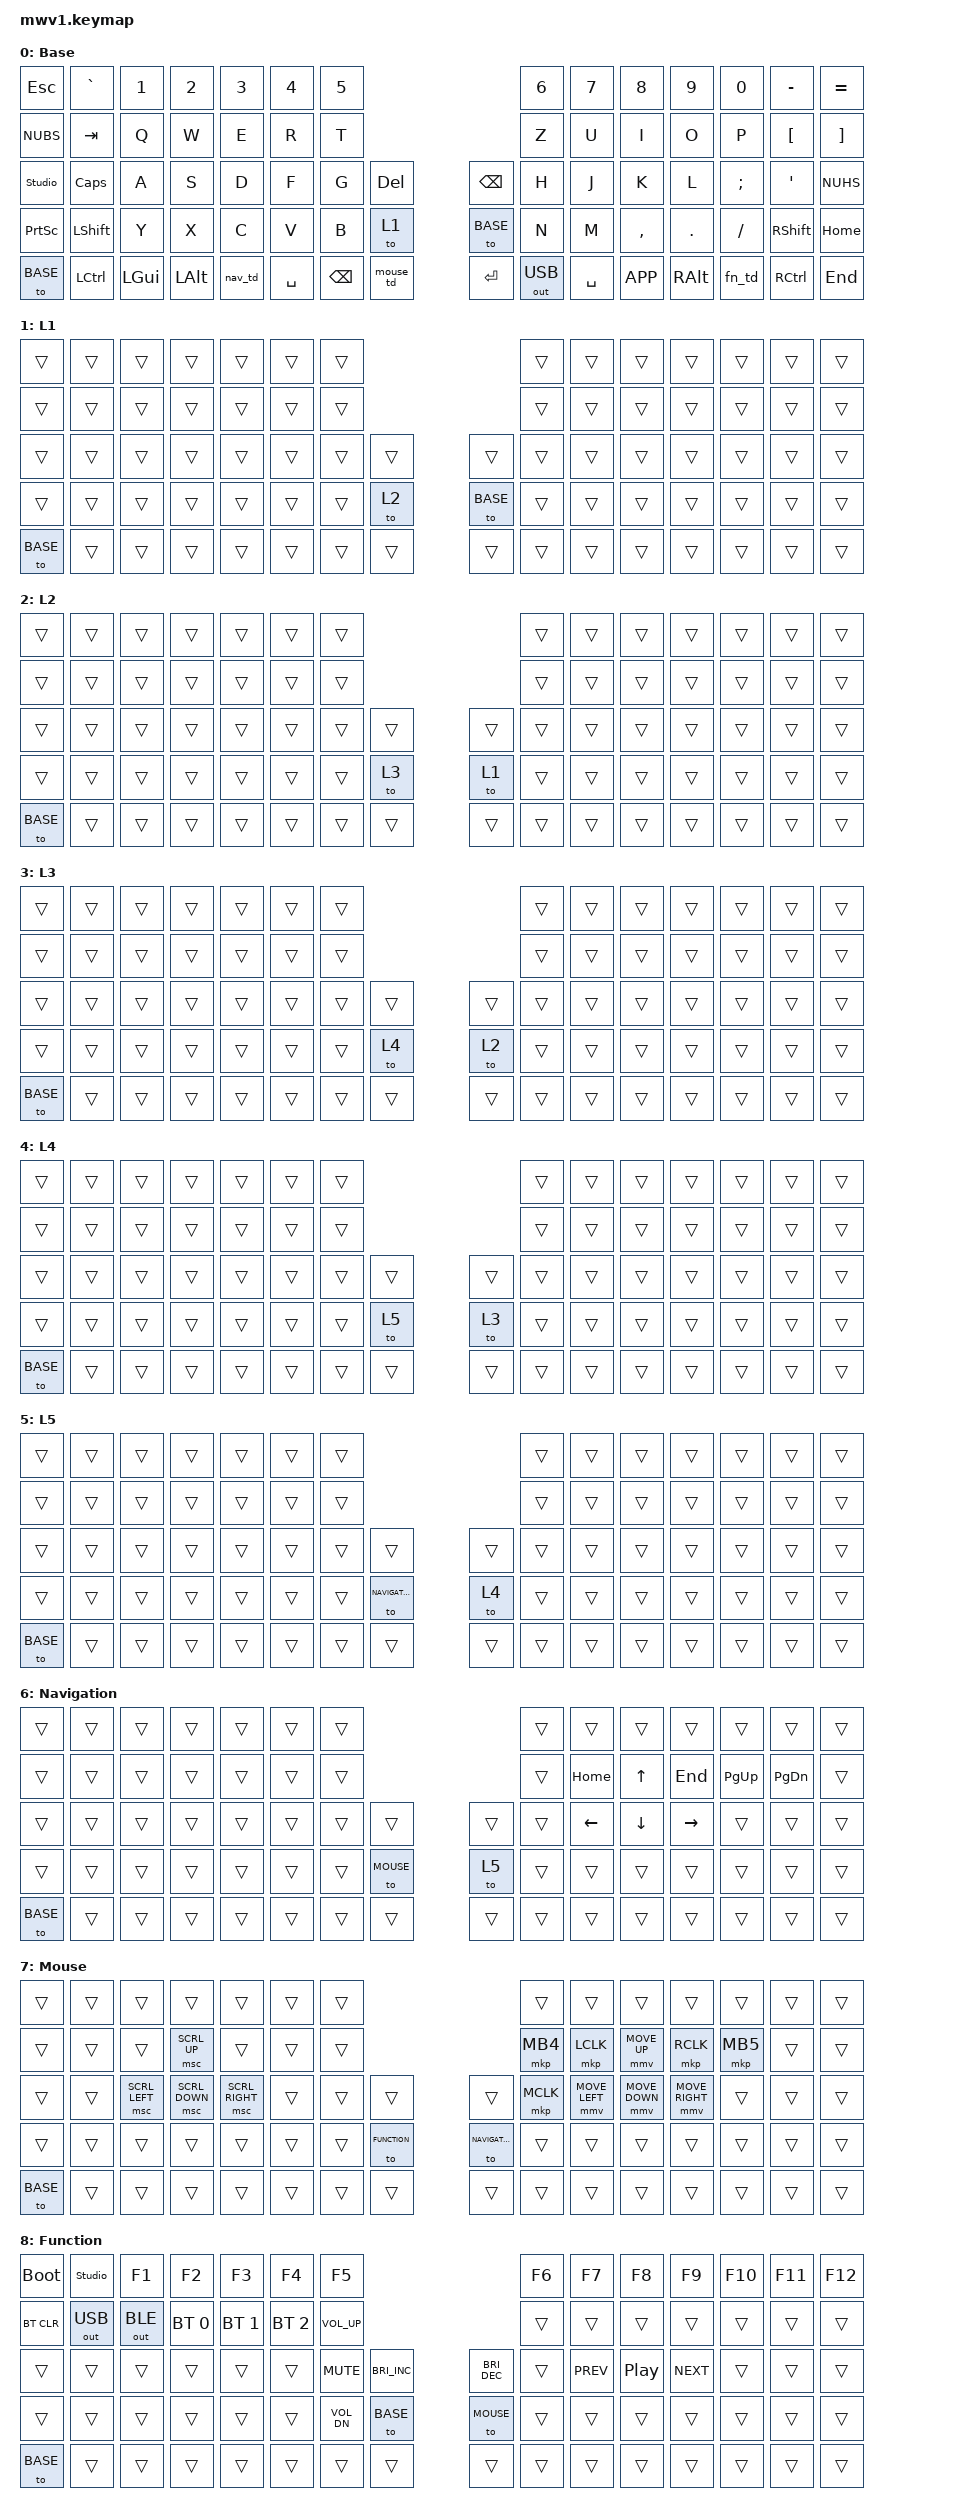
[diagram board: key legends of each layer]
#define BASE 0
#define L1 1
#define L2 2
#define L3 3
#define L4 4
#define L5 5
#define NAVIGATION 6
#define MOUSE 7
#define FUNCTION 8

#include <behaviors.dtsi>
#include <dt-bindings/zmk/bt.h>
#include <dt-bindings/zmk/keys.h>
#include <dt-bindings/zmk/outputs.h>
#include <dt-bindings/zmk/pointing.h>

/ {
    behaviors {
        /* Halten aktiviert den Layer vorübergehend, Doppeltippen wechselt dauerhaft. */
        nav_td: navigation_tap_dance {
            compatible = "zmk,behavior-tap-dance";
            #binding-cells = <0>;
            tapping-term-ms = <200>;
            bindings = <&mo NAVIGATION>, <&to NAVIGATION>;
        };

        mouse_td: mouse_tap_dance {
            compatible = "zmk,behavior-tap-dance";
            #binding-cells = <0>;
            tapping-term-ms = <200>;
            bindings = <&mo MOUSE>, <&to MOUSE>;
        };

        fn_td: function_tap_dance {
            compatible = "zmk,behavior-tap-dance";
            #binding-cells = <0>;
            tapping-term-ms = <200>;
            bindings = <&mo FUNCTION>, <&to FUNCTION>;
        };
    };

    keymap {
        compatible = "zmk,keymap";

        default_layer {
            display-name = "Base";

            /*
             * Die HID-Tastencodes folgen der physischen Anordnung von ISO-DE.
             * Die Zeichen werden vom deutschen Tastaturlayout des Betriebssystems erzeugt.
             *
             * | ESC | ^° | 1 | 2 | 3 | 4 | 5 |       | 6 | 7 | 8 | 9 | 0 | ß | ´` |
             * | <>  |TAB | Q | W | E | R | T |       | Z | U | I | O | P | Ü | +*~|
             * |STUDIO|CAPS| A | S | D | F | G | DEL | BSPC| H | J | K | L | Ö | Ä | #' |
             * |PSCRN|SFT | Y | X | C | V | B |PG UP |PG DN| N | M | , | . | - |SFT|HOME|
             * |BASE|CTL |GUI |ALT |NAV |SPC |BSPC|MOUSE| ENT |USB |SPC|MENU|ALTGR|FN|CTL|END|
            */
            bindings = <
                &kp ESC         &kp GRAVE     &kp N1    &kp N2    &kp N3   &kp N4     &kp N5                         &kp N6        &kp N7     &kp N8     &kp N9    &kp N0    &kp MINUS  &kp EQUAL
                &kp NUBS        &kp TAB       &kp Q     &kp W     &kp E    &kp R      &kp T                          &kp Z         &kp U      &kp I      &kp O     &kp P     &kp LBKT   &kp RBKT
                &studio_unlock  &kp CAPSLOCK  &kp A     &kp S     &kp D    &kp F      &kp G     &kp DEL    &kp BSPC  &kp H         &kp J      &kp K      &kp L     &kp SEMI  &kp SQT    &kp NUHS
                &kp PSCRN       &kp LSHFT     &kp Y     &kp X     &kp C    &kp V      &kp B     &to L1     &to BASE  &kp N         &kp M      &kp COMMA  &kp DOT   &kp FSLH  &kp RSHFT  &kp HOME
                &to BASE        &kp LCTRL     &kp LGUI  &kp LALT  &nav_td  &kp SPACE  &kp BSPC  &mouse_td  &kp RET   &out OUT_USB  &kp SPACE  &kp K_APP  &kp RALT  &fn_td    &kp RCTRL  &kp END
            >;
        };

        /* Diese Ebenen lassen sich in ZMK Studio frei belegen und über die inneren Tasten wechseln. */
        studio_layer_1 {
            display-name = "L1";
            bindings = <
                &trans    &trans  &trans  &trans  &trans  &trans  &trans                        &trans  &trans  &trans  &trans  &trans  &trans  &trans
                &trans    &trans  &trans  &trans  &trans  &trans  &trans                        &trans  &trans  &trans  &trans  &trans  &trans  &trans
                &trans    &trans  &trans  &trans  &trans  &trans  &trans  &trans      &trans    &trans  &trans  &trans  &trans  &trans  &trans  &trans
                &trans    &trans  &trans  &trans  &trans  &trans  &trans  &to L2      &to BASE  &trans  &trans  &trans  &trans  &trans  &trans  &trans
                &to BASE  &trans  &trans  &trans  &trans  &trans  &trans  &trans      &trans    &trans  &trans  &trans  &trans  &trans  &trans  &trans
            >;
        };

        studio_layer_2 {
            display-name = "L2";
            bindings = <
                &trans    &trans  &trans  &trans  &trans  &trans  &trans                      &trans  &trans  &trans  &trans  &trans  &trans  &trans
                &trans    &trans  &trans  &trans  &trans  &trans  &trans                      &trans  &trans  &trans  &trans  &trans  &trans  &trans
                &trans    &trans  &trans  &trans  &trans  &trans  &trans  &trans      &trans  &trans  &trans  &trans  &trans  &trans  &trans  &trans
                &trans    &trans  &trans  &trans  &trans  &trans  &trans  &to L3      &to L1  &trans  &trans  &trans  &trans  &trans  &trans  &trans
                &to BASE  &trans  &trans  &trans  &trans  &trans  &trans  &trans      &trans  &trans  &trans  &trans  &trans  &trans  &trans  &trans
            >;
        };

        studio_layer_3 {
            display-name = "L3";
            bindings = <
                &trans    &trans  &trans  &trans  &trans  &trans  &trans                      &trans  &trans  &trans  &trans  &trans  &trans  &trans
                &trans    &trans  &trans  &trans  &trans  &trans  &trans                      &trans  &trans  &trans  &trans  &trans  &trans  &trans
                &trans    &trans  &trans  &trans  &trans  &trans  &trans  &trans      &trans  &trans  &trans  &trans  &trans  &trans  &trans  &trans
                &trans    &trans  &trans  &trans  &trans  &trans  &trans  &to L4      &to L2  &trans  &trans  &trans  &trans  &trans  &trans  &trans
                &to BASE  &trans  &trans  &trans  &trans  &trans  &trans  &trans      &trans  &trans  &trans  &trans  &trans  &trans  &trans  &trans
            >;
        };

        studio_layer_4 {
            display-name = "L4";
            bindings = <
                &trans    &trans  &trans  &trans  &trans  &trans  &trans                      &trans  &trans  &trans  &trans  &trans  &trans  &trans
                &trans    &trans  &trans  &trans  &trans  &trans  &trans                      &trans  &trans  &trans  &trans  &trans  &trans  &trans
                &trans    &trans  &trans  &trans  &trans  &trans  &trans  &trans      &trans  &trans  &trans  &trans  &trans  &trans  &trans  &trans
                &trans    &trans  &trans  &trans  &trans  &trans  &trans  &to L5      &to L3  &trans  &trans  &trans  &trans  &trans  &trans  &trans
                &to BASE  &trans  &trans  &trans  &trans  &trans  &trans  &trans      &trans  &trans  &trans  &trans  &trans  &trans  &trans  &trans
            >;
        };

        studio_layer_5 {
            display-name = "L5";
            bindings = <
                &trans    &trans  &trans  &trans  &trans  &trans  &trans                              &trans  &trans  &trans  &trans  &trans  &trans  &trans
                &trans    &trans  &trans  &trans  &trans  &trans  &trans                              &trans  &trans  &trans  &trans  &trans  &trans  &trans
                &trans    &trans  &trans  &trans  &trans  &trans  &trans  &trans              &trans  &trans  &trans  &trans  &trans  &trans  &trans  &trans
                &trans    &trans  &trans  &trans  &trans  &trans  &trans  &to NAVIGATION      &to L4  &trans  &trans  &trans  &trans  &trans  &trans  &trans
                &to BASE  &trans  &trans  &trans  &trans  &trans  &trans  &trans              &trans  &trans  &trans  &trans  &trans  &trans  &trans  &trans
            >;
        };

        navigation_layer {
            display-name = "Navigation";

            /* IJKL bilden einen umgekehrten T-Pfeilblock; U/O und P/Ü ergänzen die Navigation. */
            bindings = <
                &trans    &trans  &trans  &trans  &trans  &trans  &trans                         &trans  &trans    &trans    &trans     &trans     &trans     &trans
                &trans    &trans  &trans  &trans  &trans  &trans  &trans                         &trans  &kp HOME  &kp UP    &kp END    &kp PG_UP  &kp PG_DN  &trans
                &trans    &trans  &trans  &trans  &trans  &trans  &trans  &trans         &trans  &trans  &kp LEFT  &kp DOWN  &kp RIGHT  &trans     &trans     &trans
                &trans    &trans  &trans  &trans  &trans  &trans  &trans  &to MOUSE      &to L5  &trans  &trans    &trans    &trans     &trans     &trans     &trans
                &to BASE  &trans  &trans  &trans  &trans  &trans  &trans  &trans         &trans  &trans  &trans    &trans    &trans     &trans     &trans     &trans
            >;
        };

        mouse_layer {
            display-name = "Mouse";

            /*
             * IJKL bewegen den Zeiger, U/O klicken links/rechts und H klickt die Mitte.
             * WASD scrollen; Z/P bedienen die üblichen Zurück-/Vorwärts-Maustasten.
            */
            bindings = <
                &trans    &trans  &trans          &trans          &trans           &trans  &trans                                    &trans     &trans          &trans          &trans           &trans    &trans  &trans
                &trans    &trans  &trans          &msc SCRL_UP    &trans           &trans  &trans                                    &mkp MB4   &mkp LCLK       &mmv MOVE_UP    &mkp RCLK        &mkp MB5  &trans  &trans
                &trans    &trans  &msc SCRL_LEFT  &msc SCRL_DOWN  &msc SCRL_RIGHT  &trans  &trans  &trans            &trans          &mkp MCLK  &mmv MOVE_LEFT  &mmv MOVE_DOWN  &mmv MOVE_RIGHT  &trans    &trans  &trans
                &trans    &trans  &trans          &trans          &trans           &trans  &trans  &to FUNCTION      &to NAVIGATION  &trans     &trans          &trans          &trans           &trans    &trans  &trans
                &to BASE  &trans  &trans          &trans          &trans           &trans  &trans  &trans            &trans          &trans     &trans          &trans          &trans           &trans    &trans  &trans
            >;
        };

        function_layer {
            display-name = "Function";

            /*
             * Die Ziffernreihe liefert F1 bis F12. Daneben liegen Studio,
             * Bootloader, Bluetooth-Profile, Ausgabewahl und Mediensteuerung.
            */
            bindings = <
                &bootloader  &studio_unlock  &kp F1        &kp F2        &kp F3        &kp F4        &kp F5                                          &kp F6  &kp F7      &kp F8    &kp F9      &kp F10  &kp F11  &kp F12
                &bt BT_CLR   &out OUT_USB    &out OUT_BLE  &bt BT_SEL 0  &bt BT_SEL 1  &bt BT_SEL 2  &kp C_VOL_UP                                    &trans  &trans      &trans    &trans      &trans   &trans   &trans
                &trans       &trans          &trans        &trans        &trans        &trans        &kp C_MUTE    &kp C_BRI_INC      &kp C_BRI_DEC  &trans  &kp C_PREV  &kp C_PP  &kp C_NEXT  &trans   &trans   &trans
                &trans       &trans          &trans        &trans        &trans        &trans        &kp C_VOL_DN  &to BASE           &to MOUSE      &trans  &trans      &trans    &trans      &trans   &trans   &trans
                &to BASE     &trans          &trans        &trans        &trans        &trans        &trans        &trans             &trans         &trans  &trans      &trans    &trans      &trans   &trans   &trans
            >;
        };

    };
};
